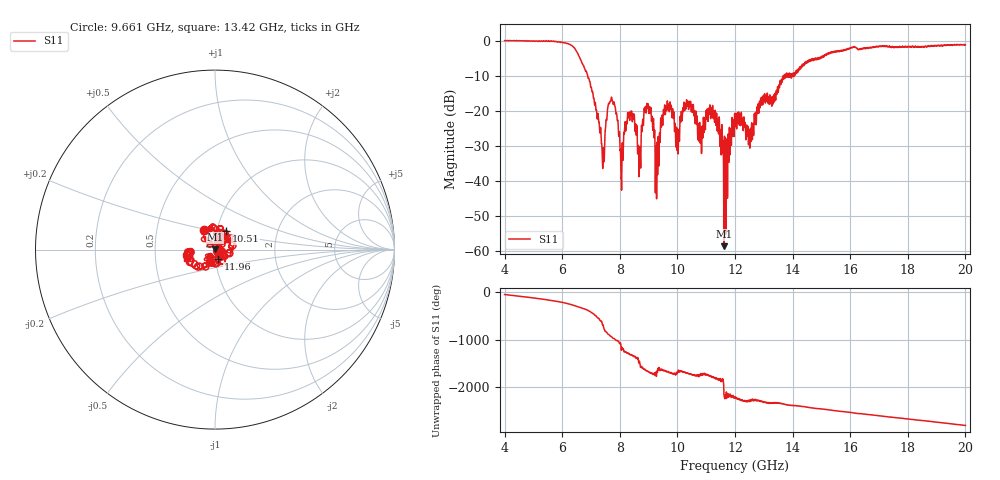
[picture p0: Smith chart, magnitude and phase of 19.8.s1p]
[Version] 2.0
! Rohde & Schwarz Vector Network Analyzer
! Rohde-Schwarz,ZNL20-2Port,1323001220200009,1.71.1.10-23.02.1.238
! Port Assignments:
! Nominal Port -> Actual Test Port
!  1 -> 1
! Created: GMT+2 2025-01-17 12:50:51
# Hz S RI R 50
[Number of Ports] 1
! freq[Hz]  S11[Re]  S11[Im]
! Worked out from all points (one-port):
!   16001 points, 4 GHz to 20 GHz, reference 50 ohm
!   lowest |S11| = -58.6 dB at 11.61 GHz (marker M1), VSWR 1.00, Z = 50 + j0.117 ohm
!   |S11| at or under -10 dB: 6.884 GHz to 13.7 GHz (6.814 GHz wide, 66.2 % of centre); 13.71211 GHz to 13.73996 GHz (27.85 MHz wide, 0.203 % of centre); 13.94129 GHz to 13.96409 GHz (22.8 MHz wide, 0.163 % of centre)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
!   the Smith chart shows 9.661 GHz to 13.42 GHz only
!   S11 on the Smith chart (normalised r, x): 9.661 GHz: 0.87, +0.19; 10.51 GHz: 1.11, +0.23; 11.96 GHz: 1.03, -0.10; 13.42 GHz: 0.72, -0.07
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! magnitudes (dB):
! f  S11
! 4 GHz  0.0
! 6 GHz  -0.5
! 6.893 GHz  -10.5
! 7.396 GHz  -34.2
! 7.686 GHz  -17.1
! 7.865 GHz  -20.8
! 8 GHz  -28.7
! 8.084 GHz  -29.3
! 8.343 GHz  -22.7
! 8.687 GHz  -31.1
! 9.004 GHz  -20.5
! 9.298 GHz  -29.1
! 9.661 GHz  -18.2
! 10 GHz  -25.7
! 10.25 GHz  -19.9
! 10.51 GHz  -18.4
! 10.78 GHz  -23.6
! 11.25 GHz  -22.2
! 11.61 GHz  -58.6
! 11.96 GHz  -25.5
! 12 GHz  -22.2
! 12.54 GHz  -25.0
! 12.92 GHz  -18.3
! 13.42 GHz  -15.6
! 14 GHz  -10.2
! 16 GHz  -2.0
! 18 GHz  -1.6
! 20 GHz  -1.2
